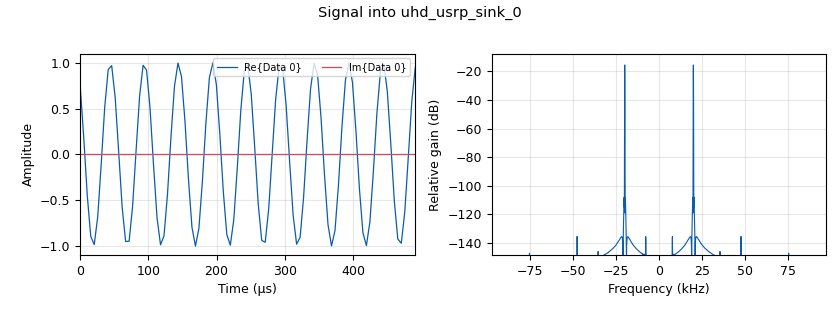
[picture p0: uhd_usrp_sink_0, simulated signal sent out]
options:
  parameters:
    generate_options: qt_gui
    id: top_block
    output_language: python
  states: {}

blocks:
- name: samp_rate
  id: variable
  parameters:
    value: '195312'
  states: {}
- name: address
  id: parameter
  parameters:
    label: IP Adress
    short_id: a
    type: str
    value: addr = 192.168.100.1
  states: {}
- name: analog_const_source_x_1
  id: analog_const_source_x
  parameters:
    const: '0'
    type: float
  states: {}
- name: analog_sig_source_x_0
  id: analog_sig_source_x
  parameters:
    amp: '1'
    freq: '20000'
    offset: '0'
    phase: '0'
    samp_rate: samp_rate
    type: float
    waveform: analog.GR_COS_WAVE
  states: {}
- name: blocks_float_to_complex_0
  id: blocks_float_to_complex
  parameters: {}
  states: {}
- name: freq
  id: parameter
  parameters:
    label: Default Frequency
    short_id: f
    type: eng_float
    value: '531000000000'
  states: {}
- name: gain
  id: parameter
  parameters:
    label: Default Gain
    short_id: g
    type: eng_float
    value: '30'
  states: {}
- name: sample_rate_0
  id: parameter
  parameters:
    label: Sample Rate
    short_id: s
    type: eng_float
    value: '1000000'
  states: {}
- name: uhd_usrp_sink_0
  id: uhd_usrp_sink
  parameters:
    ant0: TX/RX
    center_freq0: '0'
    dev_addr: ''
    dev_args: '""'
    gain0: gain
    len_tag_name: ''
    norm_gain0: 'False'
    samp_rate: samp_rate
    stream_args: peak=0.003906
    sync: none
    type: fc32
  states: {}

connections:
- [analog_const_source_x_1, '0', blocks_float_to_complex_0, '1']
- [analog_sig_source_x_0, '0', blocks_float_to_complex_0, '0']
- [blocks_float_to_complex_0, '0', uhd_usrp_sink_0, '0']

metadata:
  file_format: 1
